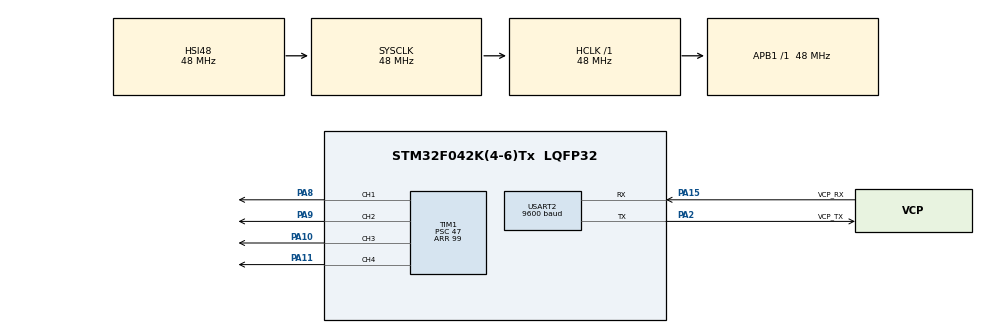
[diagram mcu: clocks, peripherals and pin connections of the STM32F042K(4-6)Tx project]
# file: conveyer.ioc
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Mcu.Family=STM32F0
Mcu.Name=STM32F042K(4-6)Tx
Mcu.Package=LQFP32
NVIC.USART2_IRQn=true\:0\:0\:false\:false\:true\:true\:true\:true
PA10.Signal=S_TIM1_CH3
PA11.Signal=S_TIM1_CH4
PA13.GPIO_Label=SWDIO
PA13.Mode=Serial_Wire
PA13.Signal=SYS_SWDIO
PA14.GPIO_Label=SWCLK
PA14.Mode=Serial_Wire
PA14.Signal=SYS_SWCLK
PA15.GPIO_Label=VCP_RX
PA15.Mode=Asynchronous
PA15.Signal=USART2_RX
PA2.GPIO_Label=VCP_TX
PA2.Mode=Asynchronous
PA2.Signal=USART2_TX
PA8.Signal=S_TIM1_CH1
PA9.Signal=S_TIM1_CH2
PF0-OSC_IN.GPIO_Label=MCO
PF0-OSC_IN.Mode=HSE-External-Clock-Source
PF0-OSC_IN.Signal=RCC_OSC_IN
ProjectManager.HeapSize=0x200
ProjectManager.StackSize=0x400
ProjectManager.TargetToolchain=STM32CubeIDE
RCC.AHBFreq_Value=48000000
RCC.APB1Freq_Value=48000000
RCC.APB1TimFreq_Value=48000000
RCC.HCLKFreq_Value=48000000
RCC.SYSCLKFreq_VALUE=48000000
RCC.SYSCLKSource=RCC_SYSCLKSOURCE_HSI48
SH.S_TIM1_CH1.0=TIM1_CH1,PWM Generation1 CH1
SH.S_TIM1_CH2.0=TIM1_CH2,PWM Generation2 CH2
SH.S_TIM1_CH3.0=TIM1_CH3,PWM Generation3 CH3
SH.S_TIM1_CH4.0=TIM1_CH4,PWM Generation4 CH4
TIM1.AutoReloadPreload=TIM_AUTORELOAD_PRELOAD_ENABLE
TIM1.Channel-PWM\ Generation1\ CH1=TIM_CHANNEL_1
TIM1.Channel-PWM\ Generation2\ CH2=TIM_CHANNEL_2
TIM1.Channel-PWM\ Generation3\ CH3=TIM_CHANNEL_3
TIM1.Channel-PWM\ Generation4\ CH4=TIM_CHANNEL_4
TIM1.Period=99
TIM1.Prescaler=47
USART2.BaudRate=9600
USART2.VirtualMode-Asynchronous=VM_ASYNC
board=NUCLEO-F042K6

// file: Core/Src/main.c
/* USER CODE BEGIN Header */
/**
  ******************************************************************************
  * @file           : main.c
  * @brief          : Main program body
  ******************************************************************************
  * @attention
  *
  * Copyright (c) 2026 STMicroelectronics.
  * All rights reserved.
  *
  * This software is licensed under terms that can be found in the LICENSE file
  * in the root directory of this software component.
  * If no LICENSE file comes with this software, it is provided AS-IS.
  *
  ******************************************************************************
  */
/* USER CODE END Header */
#include "main.h"

TIM_HandleTypeDef htim1;

UART_HandleTypeDef huart2;

void SystemClock_Config(void);
static void MX_GPIO_Init(void);
static void MX_TIM1_Init(void);
static void MX_USART2_UART_Init(void);

/* USER CODE BEGIN 0 */
#include <stdio.h>
int __io_putchar(int ch) {
HAL_UART_Transmit(&huart2, (uint8_t *)&ch, 1, 10);
return ch;
}

int readline(char* ptr)
{
int num = 0;
while(1)
{
HAL_UART_Receive(&huart2, (uint8_t*)ptr, 1, HAL_MAX_DELAY);
if (*ptr == '\n')
{
*ptr = '\0';
break;
}
ptr++;num++;
}

return num;
}

/* USER CODE END 0 */

int main(void)
{

  /* MCU Configuration--------------------------------------------------------*/

  /* Reset of all peripherals, Initializes the Flash interface and the Systick. */
  HAL_Init();

  /* Configure the system clock */
  SystemClock_Config();

  /* Initialize all configured peripherals */
  MX_GPIO_Init();
  MX_TIM1_Init();
  MX_USART2_UART_Init();
  /* USER CODE BEGIN 2 */
  HAL_TIM_PWM_Start(&htim1, TIM_CHANNEL_1);
    HAL_TIM_PWM_Start(&htim1, TIM_CHANNEL_2);
    HAL_TIM_PWM_Start(&htim1, TIM_CHANNEL_3);
    HAL_TIM_PWM_Start(&htim1, TIM_CHANNEL_4);
    char buf[100];
    const int pow1 = 85;
    const int pow2 = 90;
    int state = 0;
    __HAL_TIM_SET_COMPARE(&htim1, TIM_CHANNEL_1, pow1); //왼바퀴 앞으로
    __HAL_TIM_SET_COMPARE(&htim1, TIM_CHANNEL_2, 0); //왼바퀴 뒤로

    __HAL_TIM_SET_COMPARE(&htim1, TIM_CHANNEL_3, pow2);	//오른바퀴 뒤로
    __HAL_TIM_SET_COMPARE(&htim1, TIM_CHANNEL_4, 0); //오른바퀴 앞으로
//  __HAL_TIM_SET_COMPARE(&htim1, TIM_CHANNEL_3, pow);	//오른바퀴 뒤로
//  __HAL_TIM_SET_COMPARE(&htim1, TIM_CHANNEL_4, 0); //오른바퀴 앞으로

  /* USER CODE END 3 */

  /* USER CODE END 2 */

  /* Infinite loop */
  while (1)
  {

    /* USER CODE BEGIN 3 */
	  readline(buf);

	    // 'a' 입력 시: 왼쪽으로 회전 (또는 왼쪽 이동)n
	    if (buf[0] == 't')
	    {
	    printf("True\r\n");
	    __HAL_TIM_SET_COMPARE(&htim1, TIM_CHANNEL_3, pow2);	//오른바퀴 뒤로
	    __HAL_TIM_SET_COMPARE(&htim1, TIM_CHANNEL_4, 0); //오른바퀴 앞으로
	    }

	    // 'd' 입력 시: 오른쪽으로 회전 (또는 오른쪽 이동)
	    else if (buf[0] == 'f')
	    {
	    printf("False\r\n");
	    // 모터 A 정전, 모터 B 역전
	    __HAL_TIM_SET_COMPARE(&htim1, TIM_CHANNEL_3, 0);
	    __HAL_TIM_SET_COMPARE(&htim1, TIM_CHANNEL_4, pow2);
	    }

	    else
	    {
	    printf("Unknown Command: %c\r\n", buf[0]);
	    }
  }
  /* USER CODE END 3 */
}

void SystemClock_Config(void)
{
  RCC_OscInitTypeDef RCC_OscInitStruct = {0};
  RCC_ClkInitTypeDef RCC_ClkInitStruct = {0};

  /** Initializes the RCC Oscillators according to the specified parameters
  * in the RCC_OscInitTypeDef structure.
  */
  RCC_OscInitStruct.OscillatorType = RCC_OSCILLATORTYPE_HSI48;
  RCC_OscInitStruct.HSI48State = RCC_HSI48_ON;
  RCC_OscInitStruct.PLL.PLLState = RCC_PLL_NONE;
  if (HAL_RCC_OscConfig(&RCC_OscInitStruct) != HAL_OK)
  {
    Error_Handler();
  }

  /** Initializes the CPU, AHB and APB buses clocks
  */
  RCC_ClkInitStruct.ClockType = RCC_CLOCKTYPE_HCLK|RCC_CLOCKTYPE_SYSCLK
                              |RCC_CLOCKTYPE_PCLK1;
  RCC_ClkInitStruct.SYSCLKSource = RCC_SYSCLKSOURCE_HSI48;
  RCC_ClkInitStruct.AHBCLKDivider = RCC_SYSCLK_DIV1;
  RCC_ClkInitStruct.APB1CLKDivider = RCC_HCLK_DIV1;

  if (HAL_RCC_ClockConfig(&RCC_ClkInitStruct, FLASH_LATENCY_1) != HAL_OK)
  {
    Error_Handler();
  }
}

static void MX_TIM1_Init(void)
{

  TIM_MasterConfigTypeDef sMasterConfig = {0};
  TIM_OC_InitTypeDef sConfigOC = {0};
  TIM_BreakDeadTimeConfigTypeDef sBreakDeadTimeConfig = {0};

  htim1.Instance = TIM1;
  htim1.Init.Prescaler = 47;
  htim1.Init.CounterMode = TIM_COUNTERMODE_UP;
  htim1.Init.Period = 99;
  htim1.Init.ClockDivision = TIM_CLOCKDIVISION_DIV1;
  htim1.Init.RepetitionCounter = 0;
  htim1.Init.AutoReloadPreload = TIM_AUTORELOAD_PRELOAD_ENABLE;
  if (HAL_TIM_PWM_Init(&htim1) != HAL_OK)
  {
    Error_Handler();
  }
  sMasterConfig.MasterOutputTrigger = TIM_TRGO_RESET;
  sMasterConfig.MasterSlaveMode = TIM_MASTERSLAVEMODE_DISABLE;
  if (HAL_TIMEx_MasterConfigSynchronization(&htim1, &sMasterConfig) != HAL_OK)
  {
    Error_Handler();
  }
  sConfigOC.OCMode = TIM_OCMODE_PWM1;
  sConfigOC.Pulse = 0;
  sConfigOC.OCPolarity = TIM_OCPOLARITY_HIGH;
  sConfigOC.OCNPolarity = TIM_OCNPOLARITY_HIGH;
  sConfigOC.OCFastMode = TIM_OCFAST_DISABLE;
  sConfigOC.OCIdleState = TIM_OCIDLESTATE_RESET;
  sConfigOC.OCNIdleState = TIM_OCNIDLESTATE_RESET;
  if (HAL_TIM_PWM_ConfigChannel(&htim1, &sConfigOC, TIM_CHANNEL_1) != HAL_OK)
  {
    Error_Handler();
  }
  if (HAL_TIM_PWM_ConfigChannel(&htim1, &sConfigOC, TIM_CHANNEL_2) != HAL_OK)
  {
    Error_Handler();
  }
  if (HAL_TIM_PWM_ConfigChannel(&htim1, &sConfigOC, TIM_CHANNEL_3) != HAL_OK)
  {
    Error_Handler();
  }
  if (HAL_TIM_PWM_ConfigChannel(&htim1, &sConfigOC, TIM_CHANNEL_4) != HAL_OK)
  {
    Error_Handler();
  }
  sBreakDeadTimeConfig.OffStateRunMode = TIM_OSSR_DISABLE;
  sBreakDeadTimeConfig.OffStateIDLEMode = TIM_OSSI_DISABLE;
  sBreakDeadTimeConfig.LockLevel = TIM_LOCKLEVEL_OFF;
  sBreakDeadTimeConfig.DeadTime = 0;
  sBreakDeadTimeConfig.BreakState = TIM_BREAK_DISABLE;
  sBreakDeadTimeConfig.BreakPolarity = TIM_BREAKPOLARITY_HIGH;
  sBreakDeadTimeConfig.AutomaticOutput = TIM_AUTOMATICOUTPUT_DISABLE;
  if (HAL_TIMEx_ConfigBreakDeadTime(&htim1, &sBreakDeadTimeConfig) != HAL_OK)
  {
    Error_Handler();
  }
  HAL_TIM_MspPostInit(&htim1);

}

static void MX_USART2_UART_Init(void)
{

  huart2.Instance = USART2;
  huart2.Init.BaudRate = 9600;
  huart2.Init.WordLength = UART_WORDLENGTH_8B;
  huart2.Init.StopBits = UART_STOPBITS_1;
  huart2.Init.Parity = UART_PARITY_NONE;
  huart2.Init.Mode = UART_MODE_TX_RX;
  huart2.Init.HwFlowCtl = UART_HWCONTROL_NONE;
  huart2.Init.OverSampling = UART_OVERSAMPLING_16;
  huart2.Init.OneBitSampling = UART_ONE_BIT_SAMPLE_DISABLE;
  huart2.AdvancedInit.AdvFeatureInit = UART_ADVFEATURE_NO_INIT;
  if (HAL_UART_Init(&huart2) != HAL_OK)
  {
    Error_Handler();
  }

}

static void MX_GPIO_Init(void)
{

  /* GPIO Ports Clock Enable */
  __HAL_RCC_GPIOF_CLK_ENABLE();
  __HAL_RCC_GPIOA_CLK_ENABLE();

}

void Error_Handler(void)
{
  __disable_irq();
  while (1)
  {
  }
}
